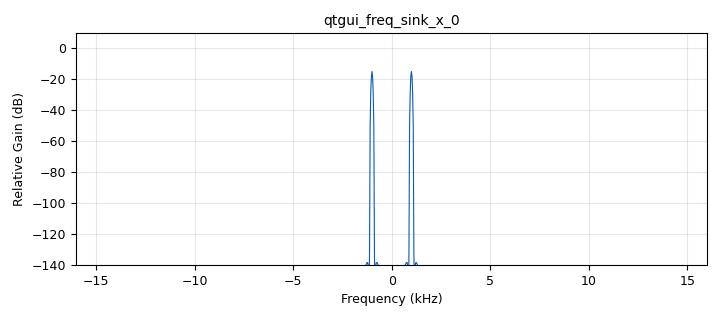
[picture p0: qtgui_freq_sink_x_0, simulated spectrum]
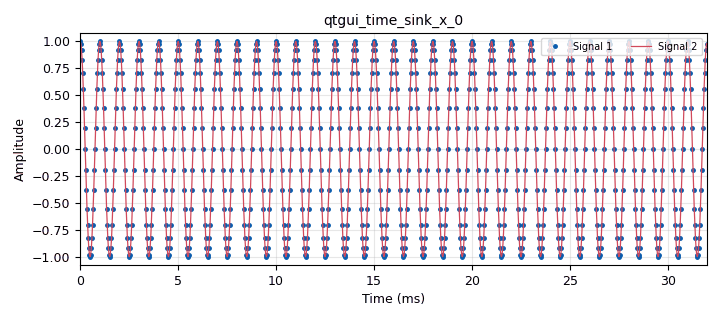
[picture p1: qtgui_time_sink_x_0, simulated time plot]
options:
  parameters:
    author: gpellaeon
    generate_options: qt_gui
    id: FFT_View_Time
    output_language: python
    title: FFT View Time
  states: {}

blocks:
- name: input_frequency
  id: variable_qtgui_range
  parameters:
    orient: Qt.Horizontal
    start: '500'
    step: '20'
    stop: '18000'
    value: '1000'
  states: {}
- name: samp_rate
  id: variable
  parameters:
    value: '32000'
  states: {}
- name: analog_sig_source_x_0
  id: analog_sig_source_x
  parameters:
    amp: '1'
    freq: input_frequency
    offset: '0'
    phase: '0'
    samp_rate: samp_rate
    type: float
    waveform: analog.GR_COS_WAVE
  states: {}
- name: blocks_throttle_0
  id: blocks_throttle
  parameters:
    samples_per_second: samp_rate
    type: float
  states: {}
- name: qtgui_freq_sink_x_0
  id: qtgui_freq_sink_x
  parameters:
    bw: samp_rate
    fc: '0'
    fftsize: '1024'
    type: float
    wintype: firdes.WIN_BLACKMAN_hARRIS
  states: {}
- name: qtgui_time_sink_x_0
  id: qtgui_time_sink_x
  parameters:
    ctrlpanel: 'True'
    marker1: '0'
    nconnections: '2'
    size: '1024'
    srate: samp_rate
    style1: '0'
    type: float
  states: {}

connections:
- [analog_sig_source_x_0, '0', blocks_throttle_0, '0']
- [blocks_throttle_0, '0', qtgui_freq_sink_x_0, '0']
- [blocks_throttle_0, '0', qtgui_time_sink_x_0, '0']
- [blocks_throttle_0, '0', qtgui_time_sink_x_0, '1']

metadata:
  file_format: 1
